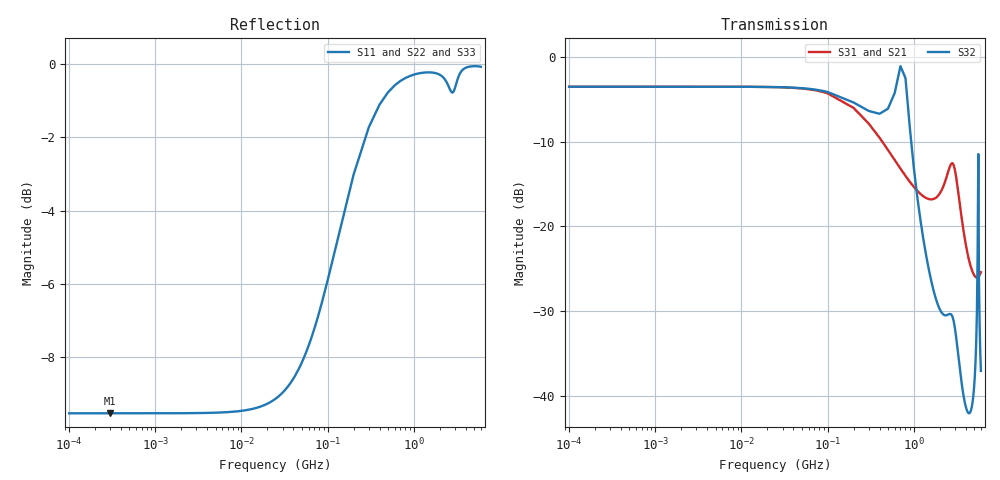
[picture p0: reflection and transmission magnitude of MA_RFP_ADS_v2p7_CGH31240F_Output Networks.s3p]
! AWR Design Environment (8379) Tue Nov 21 13:04:51 2017
! Document = 'Output Networks'
! nPorts: 3, nXvals: 1060
# HZ S MA R 50
!Freq MagS11 AngS11 MagS12 AngS12 MagS13 AngS13
!	MagS21 AngS21 MagS22 AngS22 MagS23 AngS23
!	MagS31 AngS31 MagS32 AngS32 MagS33 AngS33
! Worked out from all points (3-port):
!   1059 points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, 100 kHz to 6 GHz, reference 50 ohm
!   strongest paths, dB at 100 kHz, 26.5 MHz, 53 MHz, 79.5 MHz, 6 GHz:
!     S32: -3.5, -3.6, -3.7, -3.9, -37.1
!     S31: -3.5, -3.6, -3.8, -4.0, -25.4
!     S21: -3.5, -3.6, -3.8, -4.0, -25.4
!   lowest |S11| = -9.5 dB at 300 kHz (marker M1), VSWR 2.00, Z = 25 - j0.0458 ohm
!   |S11| at or under -10 dB: nowhere
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100000  0.3332 -179.9  0.6666 -0.0  0.6666 -0.0
        0.6666 -0.0  0.3332 -180.0  0.6665 -0.0
        0.6666 -0.0  0.6665 -0.0  0.3332 -180.0
300000  0.3332 -179.9  0.6666 -0.1  0.6666 -0.1
        0.6666 -0.1  0.3332 -179.9  0.6665 -0.1
        0.6666 -0.1  0.6665 -0.1  0.3332 -179.9
2.45e7  0.3484 -168.8  0.6627 -6.6  0.6627 -6.6
        0.6627 -6.6  0.3468 -169.4  0.6633 -7.0
        0.6627 -6.6  0.6633 -7.0  0.3468 -169.4
5e8  0.915 -176.0  0.2828 -72.7  0.2828 -72.7
     0.2828 -72.7  0.8171 178.2  0.4938 -86.7
     0.2828 -72.7  0.4938 -86.7  0.8171 178.2
1.3e9  0.9739 152.8  0.1499 -99.8  0.1499 -99.8
       0.1499 -99.8  0.9846 -167.5  0.08213 94.9
       0.1499 -99.8  0.08213 94.9  0.9846 -167.5
2.1e9  0.9638 109.7  0.1633 -125.8  0.1633 -125.8
       0.1633 -125.8  0.9859 -179.0  0.03103 65.0
       0.1633 -125.8  0.03103 65.0  0.9859 -179.0
2.7e9  0.9179 18.1  0.233 -173.0  0.233 -173.0
       0.233 -173.0  0.9716 176.9  0.03035 18.0
       0.233 -173.0  0.03035 18.0  0.9716 176.9
3.4e9  0.9693 -129.7  0.1378 112.8  0.1378 112.8
       0.1378 112.8  0.9902 173.7  0.01479 -55.2
       0.1378 112.8  0.01479 -55.2  0.9902 173.7
4.2e9  0.991 175.2  0.06917 82.6  0.06917 82.6
       0.06917 82.6  0.9975 169.1  0.008056 -83.4
       0.06917 82.6  0.008056 -83.4  0.9975 169.1
6e9  0.9921 105.8  0.05367 43.3  0.05367 43.3
     0.05367 43.3  0.9982 161.8  0.01404 66.7
     0.05367 43.3  0.01404 66.7  0.9982 161.8
